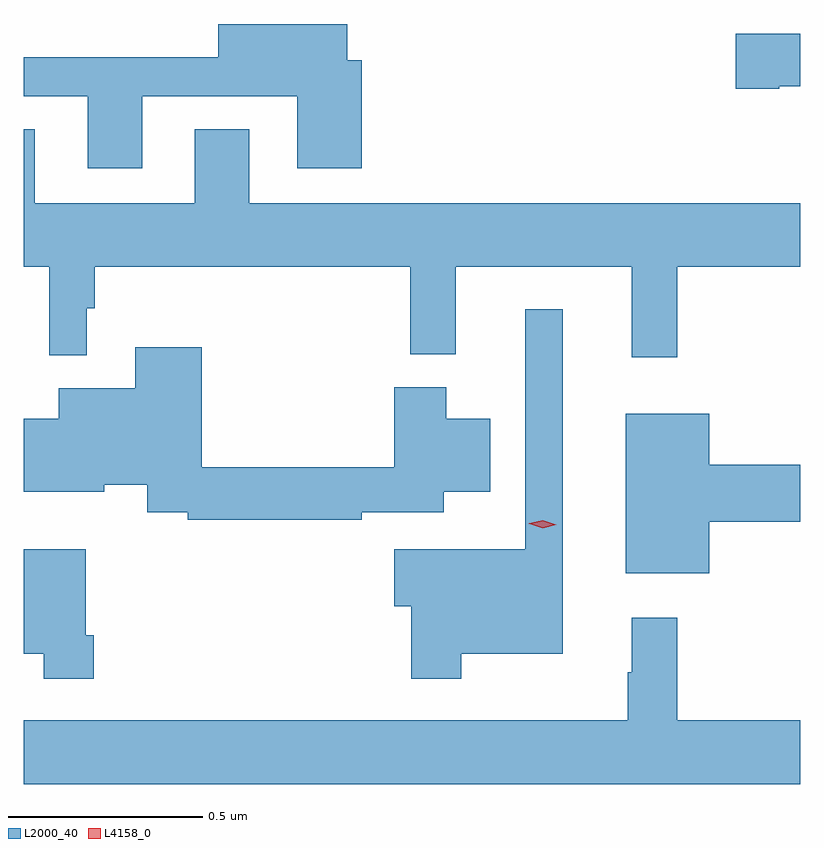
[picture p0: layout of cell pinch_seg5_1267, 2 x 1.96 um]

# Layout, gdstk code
import gdstk
lib = gdstk.Library(unit=1e-6, precision=1e-09)
def P(c, l, *ps):  # polygons
    for p in ps: c.add(gdstk.Polygon(p, *l))
L2000_40 = (2000, 40)
L4158_0 = (4158, 0)

pinch_seg5_1267 = lib.new_cell('pinch_seg5_1267')
P(pinch_seg5_1267, L2000_40, [(473.053,878.511),(473.453,878.511),(473.453,878.325),(473.618,878.325),(473.618,878.604),(473.581,878.604),(473.581,878.697),(473.249,878.697),(473.249,878.612),(472.748,878.612),(472.748,878.511),(472.913,878.511),(472.913,878.325),(473.053,878.325)],
  [(474.694,878.537),(474.748,878.537),(474.748,878.672),(474.582,878.672),(474.582,878.53),(474.694,878.53)],
  [(474.431,878.072),(474.748,878.072),(474.748,878.236),(473.329,878.236),(473.329,878.426),(473.189,878.426),(473.189,878.236),(472.777,878.236),(472.777,878.426),(472.748,878.426),(472.748,878.072),(472.814,878.072),(472.814,877.844),(472.911,877.844),(472.911,877.965),(472.931,877.965),(472.931,878.072),(473.743,878.072),(473.743,877.847),(473.861,877.847),(473.861,878.072),(474.314,878.072),(474.314,877.839),(474.431,877.839)],
  [(473.875,877.076),(474.136,877.076),(474.136,877.963),(474.039,877.963),(474.039,877.345),(473.702,877.345),(473.702,877.198),(473.746,877.198),(473.746,877.011),(473.875,877.011)],
  [(473.618,877.44),(473.83,877.44),(473.83,877.493),(473.95,877.493),(473.95,877.681),(473.836,877.681),(473.836,877.762),(473.702,877.762),(473.702,877.556),(473.207,877.556),(473.207,877.864),(473.036,877.864),(473.036,877.759),(472.838,877.759),(472.838,877.681),(472.748,877.681),(472.748,877.493),(472.956,877.493),(472.956,877.511),(473.066,877.511),(473.066,877.44),(473.17,877.44),(473.17,877.42),(473.618,877.42)],
  [(474.514,877.415),(474.748,877.415),(474.748,877.562),(474.514,877.562),(474.514,877.693),(474.299,877.693),(474.299,877.283),(474.514,877.283)],
  [(472.928,877.123),(472.908,877.123),(472.908,877.345),(472.748,877.345),(472.748,877.076),(472.8,877.076),(472.8,877.011),(472.928,877.011)],
  [(474.748,876.904),(474.431,876.904),(474.431,877.168),(474.314,877.168),(474.314,877.028),(474.303,877.028),(474.303,876.904),(472.748,876.904),(472.748,876.74),(474.748,876.74)])
P(pinch_seg5_1267, L4158_0, [(474.085,877.399),(474.05,877.41),(474.049,877.41),(474.05,877.411),(474.085,877.419),(474.12,877.408),(474.12,877.408),(474.12,877.407)])

lib.write_gds('pinch_seg5_1267.gds')
